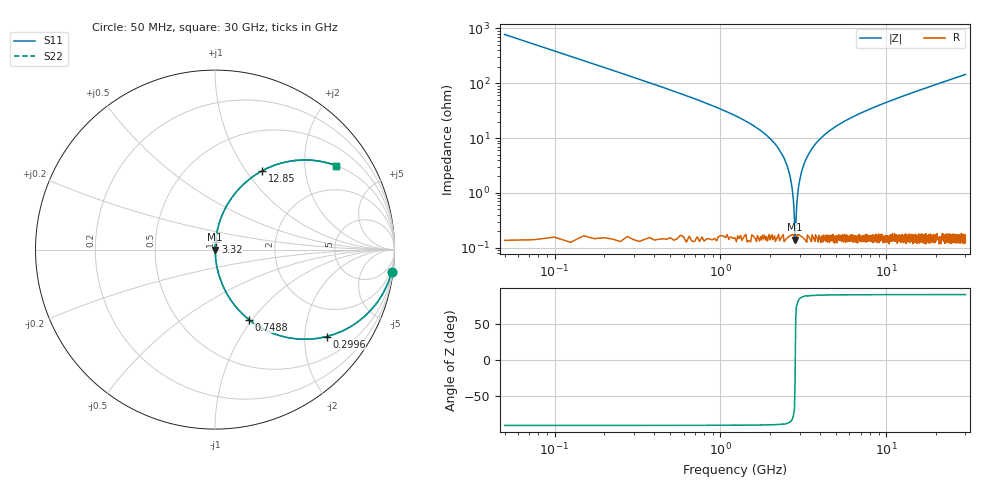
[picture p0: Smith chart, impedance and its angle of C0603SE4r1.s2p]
!	AVX Thin Film Operation 	Date: April 2014
!	Description: Accu-P® Series, Thin Film  SMD RF Capacitor
!	Part Number: 06031J4R1ABSTR
# MHZ S MA R 50
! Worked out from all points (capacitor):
!   1201 points, 50 MHz to 30 GHz, reference 50 ohm
!   read as one part in series: C = 4.1 pF near 199.8 MHz
!   lowest |Z| = 140 mohm at 2.82 GHz (marker M1)
!   series resonance near 2.827 GHz, so ESL is about 770 pH
!   S11 on the Smith chart (normalised r, x): 50 MHz: 1, -16; 299.6 MHz: 1.00, -2.56; 748.8 MHz: 1.00, -0.96; 3.32 GHz: 1.00, +0.09; 12.85 GHz: 1.00, +1.19; 30 GHz: 1.00, +2.89
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50  0.992 -7.3  0.128 82.6  0.128 82.6  0.992 -7.3
299.583  0.788 -37.9  0.615 52.0  0.615 52.0  0.788 -37.9
524.208  0.581 -54.4  0.813 35.5  0.813 35.5  0.581 -54.4
748.833  0.434 -64.1  0.9 25.7  0.9 25.7  0.434 -64.1
1272.958  0.236 -76.0  0.97 13.6  0.97 13.6  0.236 -76.0
2246.333  0.063 -85.0  0.996 3.6  0.996 3.6  0.063 -85.0
2520.875  0.032 -85.5  0.998 1.8  0.998 1.8  0.032 -85.5
2620.708  0.021 -84.7  0.998 1.2  0.998 1.2  0.021 -84.7
2720.542  0.011 -81.4  0.998 0.6  0.998 0.6  0.011 -81.4
2820.375  0.001624 -23.6  0.999 0.0  0.999 0.0  0.001624 -23.6
2920.208  0.009012 80.0  0.998 -0.5  0.998 -0.5  0.009012 80.0
3119.875  0.027 85.3  0.998 -1.6  0.998 -1.6  0.027 85.3
3319.542  0.044 85.5  0.998 -2.5  0.998 -2.5  0.044 85.5
3943.5  0.093 83.8  0.994 -5.3  0.994 -5.3  0.093 83.8
5041.667  0.165 80.0  0.985 -9.5  0.985 -9.5  0.165 80.0
7038.333  0.275 73.7  0.96 -16.0  0.96 -16.0  0.275 73.7
10058.29  0.41 65.6  0.911 -24.2  0.911 -24.2  0.41 65.6
12853.62  0.51 59.2  0.859 -30.7  0.859 -30.7  0.51 59.2
15025  0.575 54.8  0.817 -35.1  0.817 -35.1  0.575 54.8
20016.67  0.689 46.3  0.723 -43.6  0.723 -43.6  0.689 46.3
25033.29  0.768 39.8  0.64 -50.2  0.64 -50.2  0.768 39.8
30000  0.822 34.7  0.569 -55.3  0.569 -55.3  0.822 34.7
